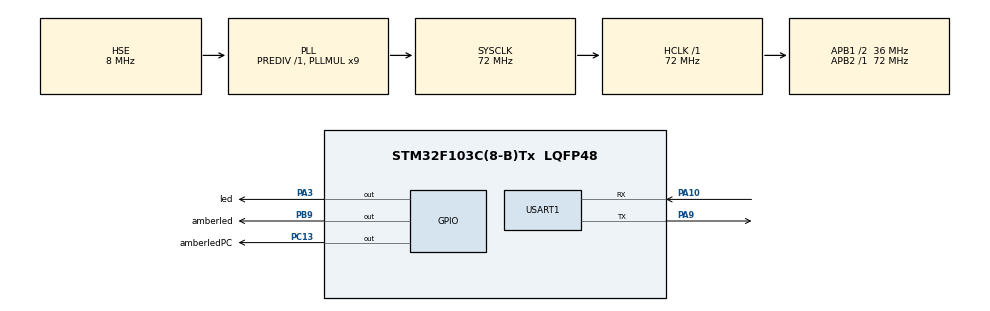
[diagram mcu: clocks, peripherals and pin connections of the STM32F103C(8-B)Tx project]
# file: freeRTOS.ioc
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FREERTOS.CountingSemaphores01=slotSemp,5,Dynamic,NULL;itemSemp,5,Dynamic,NULL
FREERTOS.Mutexes01=qMutex;mailMutex
FREERTOS.Queues01=itemQueue,5,int,NULL,Dynamic,NULL,NULL
FREERTOS.Tasks01=defaultTask,0,128,StartDefaultTask,Default,NULL,Dynamic,NULL,NULL;producer,-3,128,StartProducer,Default,NULL,Dynamic,NULL,NULL;consumer,-3,128,StartConsumer,Default,NULL,Dynamic,NULL,NULL
FREERTOS.configTOTAL_HEAP_SIZE=6144
FREERTOS.configUSE_COUNTING_SEMAPHORES=1
FREERTOS.configUSE_RECURSIVE_MUTEXES=1
FREERTOS.configUSE_TIMERS=1
Mcu.Family=STM32F1
Mcu.Name=STM32F103C(8-B)Tx
Mcu.Package=LQFP48
Mcu.UserConstants=Timer1_Counter,10000;TIM_RELOAD,10000;queueSize,10
NVIC.PriorityGroup=NVIC_PRIORITYGROUP_4
NVIC.TIM3_IRQn=true\:0\:0\:false\:false\:true\:false
NVIC.TimeBase=TIM3_IRQn
NVIC.TimeBaseIP=TIM3
NVIC.USART1_IRQn=true\:5\:0\:false\:false\:true\:true
PA10.Mode=Asynchronous
PA10.Signal=USART1_RX
PA13.Mode=Serial_Wire
PA13.Signal=SYS_JTMS-SWDIO
PA14.Mode=Serial_Wire
PA14.Signal=SYS_JTCK-SWCLK
PA3.GPIO_Label=led
PA3.PinState=GPIO_PIN_RESET
PA3.Signal=GPIO_Output
PA9.Mode=Asynchronous
PA9.Signal=USART1_TX
PB9.GPIO_Label=amberled
PB9.GPIO_Speed=GPIO_SPEED_FREQ_HIGH
PB9.PinState=GPIO_PIN_RESET
PB9.Signal=GPIO_Output
PC13-TAMPER-RTC.GPIO_Label=amberledPC
PC13-TAMPER-RTC.Signal=GPIO_Output
PD0-OSC_IN.Mode=HSE-External-Oscillator
PD0-OSC_IN.Signal=RCC_OSC_IN
PD1-OSC_OUT.Mode=HSE-External-Oscillator
PD1-OSC_OUT.Signal=RCC_OSC_OUT
ProjectManager.HeapSize=0x200
ProjectManager.StackSize=0x400
ProjectManager.TargetToolchain=SW4STM32
RCC.AHBFreq_Value=72000000
RCC.APB1CLKDivider=RCC_HCLK_DIV2
RCC.APB1Freq_Value=36000000
RCC.APB1TimFreq_Value=72000000
RCC.APB2Freq_Value=72000000
RCC.APB2TimFreq_Value=72000000
RCC.HCLKFreq_Value=72000000
RCC.PLLMUL=RCC_PLL_MUL9
RCC.PLLSourceVirtual=RCC_PLLSOURCE_HSE
RCC.SYSCLKFreq_VALUE=72000000
RCC.SYSCLKSource=RCC_SYSCLKSOURCE_PLLCLK
RCC.USBFreq_Value=72000000
USART1.VirtualMode=VM_ASYNC
VP_FREERTOS_VS_ENABLE.Mode=Enabled
VP_SYS_VS_tim3.Mode=TIM3
board=freeRTOS

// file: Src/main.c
/**
  ******************************************************************************
  * File Name          : main.c
  * Description        : Main program body
  ******************************************************************************
  * This notice applies to any and all portions of this file
  * that are not between comment pairs USER CODE BEGIN and
  * USER CODE END. Other portions of this file, whether
  * inserted by the user or by software development tools
  * are owned by their respective copyright owners.
  *
  * Copyright (c) 2017 STMicroelectronics International N.V.
  * All rights reserved.
  *
  * Redistribution and use in source and binary forms, with or without
  * modification, are permitted, provided that the following conditions are met:
  *
  * 1. Redistribution of source code must retain the above copyright notice,
  *    this list of conditions and the following disclaimer.
  * 2. Redistributions in binary form must reproduce the above copyright notice,
  *    this list of conditions and the following disclaimer in the documentation
  *    and/or other materials provided with the distribution.
  * 3. Neither the name of STMicroelectronics nor the names of other
  *    contributors to this software may be used to endorse or promote products
  *    derived from this software without specific written permission.
  * 4. This software, including modifications and/or derivative works of this
  *    software, must execute solely and exclusively on microcontroller or
  *    microprocessor devices manufactured by or for STMicroelectronics.
  * 5. Redistribution and use of this software other than as permitted under
  *    this license is void and will automatically terminate your rights under
  *    this license.
  *
  * THIS SOFTWARE IS PROVIDED BY STMICROELECTRONICS AND CONTRIBUTORS "AS IS"
  * AND ANY EXPRESS, IMPLIED OR STATUTORY WARRANTIES, INCLUDING, BUT NOT
  * LIMITED TO, THE IMPLIED WARRANTIES OF MERCHANTABILITY, FITNESS FOR A
  * PARTICULAR PURPOSE AND NON-INFRINGEMENT OF THIRD PARTY INTELLECTUAL PROPERTY
  * RIGHTS ARE DISCLAIMED TO THE FULLEST EXTENT PERMITTED BY LAW. IN NO EVENT
  * SHALL STMICROELECTRONICS OR CONTRIBUTORS BE LIABLE FOR ANY DIRECT, INDIRECT,
  * INCIDENTAL, SPECIAL, EXEMPLARY, OR CONSEQUENTIAL DAMAGES (INCLUDING, BUT NOT
  * LIMITED TO, PROCUREMENT OF SUBSTITUTE GOODS OR SERVICES; LOSS OF USE, DATA,
  * OR PROFITS; OR BUSINESS INTERRUPTION) HOWEVER CAUSED AND ON ANY THEORY OF
  * LIABILITY, WHETHER IN CONTRACT, STRICT LIABILITY, OR TORT (INCLUDING
  * NEGLIGENCE OR OTHERWISE) ARISING IN ANY WAY OUT OF THE USE OF THIS SOFTWARE,
  * EVEN IF ADVISED OF THE POSSIBILITY OF SUCH DAMAGE.
  *
  ******************************************************************************
  */
#include "main.h"
#include "stm32f1xx_hal.h"
#include "cmsis_os.h"

/* USER CODE BEGIN Includes */
#include <stdio.h>
/* USER CODE END Includes */

UART_HandleTypeDef huart1;

osThreadId defaultTaskHandle;
osThreadId producerHandle;
osThreadId consumerHandle;
osMessageQId itemQueueHandle;
osMutexId qMutexHandle;
osMutexId mailMutexHandle;
osSemaphoreId slotSempHandle;
osSemaphoreId itemSempHandle;

/* USER CODE BEGIN PV */
/* Private variables ---------------------------------------------------------*/
volatile int obj = 0;
osMailQId mailBoxHandler;

/* USER CODE END PV */

void SystemClock_Config(void);
static void MX_GPIO_Init(void);
static void MX_USART1_UART_Init(void);
void StartDefaultTask(void const * argument);
void StartProducer(void const * argument);
void StartConsumer(void const * argument);

/* USER CODE BEGIN PFP */
/* Private function prototypes -----------------------------------------------*/
extern void initialise_monitor_handles(void);
/* USER CODE END PFP */

int main(void)
{

  /* USER CODE BEGIN 1 */
	initialise_monitor_handles();

  /* USER CODE END 1 */

  /* MCU Configuration----------------------------------------------------------*/

  /* Reset of all peripherals, Initializes the Flash interface and the Systick. */
  HAL_Init();

  /* Configure the system clock */
  SystemClock_Config();

  /* Initialize all configured peripherals */
  MX_GPIO_Init();
  MX_USART1_UART_Init();

  /* Create the mutex(es) */
  /* definition and creation of qMutex */
  osMutexDef(qMutex);
  qMutexHandle = osMutexCreate(osMutex(qMutex));

  /* definition and creation of mailMutex */
  osMutexDef(mailMutex);
  mailMutexHandle = osMutexCreate(osMutex(mailMutex));

  /* Create the semaphores(s) */
  /* definition and creation of slotSemp */
  osSemaphoreDef(slotSemp);
  slotSempHandle = osSemaphoreCreate(osSemaphore(slotSemp), 5);

  /* definition and creation of itemSemp */
  osSemaphoreDef(itemSemp);
  itemSempHandle = osSemaphoreCreate(osSemaphore(itemSemp), 5);

  /* USER CODE BEGIN RTOS_SEMAPHORES */
  /* add semaphores, ... */

  slotSempHandle = xSemaphoreCreateCounting(5,5);
  itemSempHandle = xSemaphoreCreateCounting(5,0);
  /* USER CODE END RTOS_SEMAPHORES */

  /* Create the thread(s) */
  /* definition and creation of defaultTask */
  osThreadDef(defaultTask, StartDefaultTask, osPriorityNormal, 0, 128);
  defaultTaskHandle = osThreadCreate(osThread(defaultTask), NULL);

  /* definition and creation of producer */
  osThreadDef(producer, StartProducer, osPriorityIdle, 0, 128);
  producerHandle = osThreadCreate(osThread(producer), NULL);

  /* definition and creation of consumer */
  osThreadDef(consumer, StartConsumer, osPriorityIdle, 0, 128);
  consumerHandle = osThreadCreate(osThread(consumer), NULL);

  /* USER CODE BEGIN RTOS_THREADS */
  /* add threads, ... */
  printf("starting print. \n");
  /* USER CODE END RTOS_THREADS */

  /* Create the queue(s) */
  /* definition and creation of itemQueue */
  osMessageQDef(itemQueue, 5, int);
  itemQueueHandle = osMessageCreate(osMessageQ(itemQueue), NULL);

  /* Start scheduler */
  osKernelStart();

  /* We should never get here as control is now taken by the scheduler */

  /* Infinite loop */
  while (1)
  {

  /* USER CODE BEGIN 3 */
	/*	 evt = osMailGet(mailBoxHandler, osWaitForever);
		 if(evt.status == osEventMail){
		  rxData = evt.value.p;
		  printf("data =%d\n", rxData->data);
		  osMailFree(mailBoxHandler, rxData);
		 }*/
  //osMailGet(mailBoxHandler, portMAX_DELAY);
  //printf("object:%d \n", obj);

  }
  /* USER CODE END 3 */

}

/** System Clock Configuration
*/
void SystemClock_Config(void)
{

  RCC_OscInitTypeDef RCC_OscInitStruct;
  RCC_ClkInitTypeDef RCC_ClkInitStruct;

    /**Initializes the CPU, AHB and APB busses clocks
    */
  RCC_OscInitStruct.OscillatorType = RCC_OSCILLATORTYPE_HSE;
  RCC_OscInitStruct.HSEState = RCC_HSE_ON;
  RCC_OscInitStruct.HSEPredivValue = RCC_HSE_PREDIV_DIV1;
  RCC_OscInitStruct.HSIState = RCC_HSI_ON;
  RCC_OscInitStruct.PLL.PLLState = RCC_PLL_ON;
  RCC_OscInitStruct.PLL.PLLSource = RCC_PLLSOURCE_HSE;
  RCC_OscInitStruct.PLL.PLLMUL = RCC_PLL_MUL9;
  if (HAL_RCC_OscConfig(&RCC_OscInitStruct) != HAL_OK)
  {
    _Error_Handler(__FILE__, __LINE__);
  }

    /**Initializes the CPU, AHB and APB busses clocks
    */
  RCC_ClkInitStruct.ClockType = RCC_CLOCKTYPE_HCLK|RCC_CLOCKTYPE_SYSCLK
                              |RCC_CLOCKTYPE_PCLK1|RCC_CLOCKTYPE_PCLK2;
  RCC_ClkInitStruct.SYSCLKSource = RCC_SYSCLKSOURCE_PLLCLK;
  RCC_ClkInitStruct.AHBCLKDivider = RCC_SYSCLK_DIV1;
  RCC_ClkInitStruct.APB1CLKDivider = RCC_HCLK_DIV2;
  RCC_ClkInitStruct.APB2CLKDivider = RCC_HCLK_DIV1;

  if (HAL_RCC_ClockConfig(&RCC_ClkInitStruct, FLASH_LATENCY_2) != HAL_OK)
  {
    _Error_Handler(__FILE__, __LINE__);
  }

    /**Configure the Systick interrupt time
    */
  HAL_SYSTICK_Config(HAL_RCC_GetHCLKFreq()/1000);

    /**Configure the Systick
    */
  HAL_SYSTICK_CLKSourceConfig(SYSTICK_CLKSOURCE_HCLK);

  /* SysTick_IRQn interrupt configuration */
  HAL_NVIC_SetPriority(SysTick_IRQn, 15, 0);
}

/* USART1 init function */
static void MX_USART1_UART_Init(void)
{

  huart1.Instance = USART1;
  huart1.Init.BaudRate = 115200;
  huart1.Init.WordLength = UART_WORDLENGTH_8B;
  huart1.Init.StopBits = UART_STOPBITS_1;
  huart1.Init.Parity = UART_PARITY_NONE;
  huart1.Init.Mode = UART_MODE_TX_RX;
  huart1.Init.HwFlowCtl = UART_HWCONTROL_NONE;
  huart1.Init.OverSampling = UART_OVERSAMPLING_16;
  if (HAL_UART_Init(&huart1) != HAL_OK)
  {
    _Error_Handler(__FILE__, __LINE__);
  }

}

/** Configure pins as
        * Analog
        * Input
        * Output
        * EVENT_OUT
        * EXTI
*/
static void MX_GPIO_Init(void)
{

  GPIO_InitTypeDef GPIO_InitStruct;

  /* GPIO Ports Clock Enable */
  __HAL_RCC_GPIOC_CLK_ENABLE();
  __HAL_RCC_GPIOD_CLK_ENABLE();
  __HAL_RCC_GPIOA_CLK_ENABLE();
  __HAL_RCC_GPIOB_CLK_ENABLE();

  /*Configure GPIO pin Output Level */
  HAL_GPIO_WritePin(amberledPC_GPIO_Port, amberledPC_Pin, GPIO_PIN_RESET);

  /*Configure GPIO pin Output Level */
  HAL_GPIO_WritePin(led_GPIO_Port, led_Pin, GPIO_PIN_RESET);

  /*Configure GPIO pin Output Level */
  HAL_GPIO_WritePin(amberled_GPIO_Port, amberled_Pin, GPIO_PIN_RESET);

  /*Configure GPIO pin : amberledPC_Pin */
  GPIO_InitStruct.Pin = amberledPC_Pin;
  GPIO_InitStruct.Mode = GPIO_MODE_OUTPUT_PP;
  GPIO_InitStruct.Speed = GPIO_SPEED_FREQ_LOW;
  HAL_GPIO_Init(amberledPC_GPIO_Port, &GPIO_InitStruct);

  /*Configure GPIO pin : led_Pin */
  GPIO_InitStruct.Pin = led_Pin;
  GPIO_InitStruct.Mode = GPIO_MODE_OUTPUT_PP;
  GPIO_InitStruct.Speed = GPIO_SPEED_FREQ_LOW;
  HAL_GPIO_Init(led_GPIO_Port, &GPIO_InitStruct);

  /*Configure GPIO pin : amberled_Pin */
  GPIO_InitStruct.Pin = amberled_Pin;
  GPIO_InitStruct.Mode = GPIO_MODE_OUTPUT_PP;
  GPIO_InitStruct.Speed = GPIO_SPEED_FREQ_HIGH;
  HAL_GPIO_Init(amberled_GPIO_Port, &GPIO_InitStruct);

}

/* StartDefaultTask function */
void StartDefaultTask(void const * argument)
{

  for(;;)
  {
    osDelay(1);
  }
}

/* StartProducer function */
void StartProducer(void const * argument)
{
  /* USER CODE BEGIN StartProducer */
  /* Infinite loop */
  for(;;)
  {
    xSemaphoreTake(slotSempHandle, portMAX_DELAY);
    osMutexWait(qMutexHandle, portMAX_DELAY);
    obj++;
    osMessagePut(itemQueueHandle, (uint32_t)obj, portMAX_DELAY);
	osMutexRelease(qMutexHandle);
	 osMutexWait(mailMutexHandle, portMAX_DELAY);
	 printf("this is the producer thread \t item is [%d] \n", obj);
	 osMutexRelease(mailMutexHandle);
	xSemaphoreGive(itemSempHandle);
  }
  /* USER CODE END StartProducer */
}

/* StartConsumer function */
void StartConsumer(void const * argument)
{
  /* USER CODE BEGIN StartConsumer */
  /* Infinite loop */
  for(;;)
  {
     xSemaphoreTake(itemSempHandle, portMAX_DELAY);
	 osMutexWait(qMutexHandle, portMAX_DELAY);
  	 osMessageGet(itemQueueHandle, portMAX_DELAY);
  	 obj--;
	 osMutexRelease(qMutexHandle);
	 osMutexWait(mailMutexHandle, portMAX_DELAY);
	 printf("this is the consumer thread \t item is [%d] \n", obj);
	 osMutexRelease(mailMutexHandle);
	 xSemaphoreGive(slotSempHandle);

  }
  /* USER CODE END StartConsumer */
}

void HAL_TIM_PeriodElapsedCallback(TIM_HandleTypeDef *htim)
{
  if (htim->Instance == TIM3) {
    HAL_IncTick();
  }
}

void _Error_Handler(char * file, int line)
{
  while(1)
  {
  }
}

/************************ (C) COPYRIGHT STMicroelectronics *****END OF FILE****/
